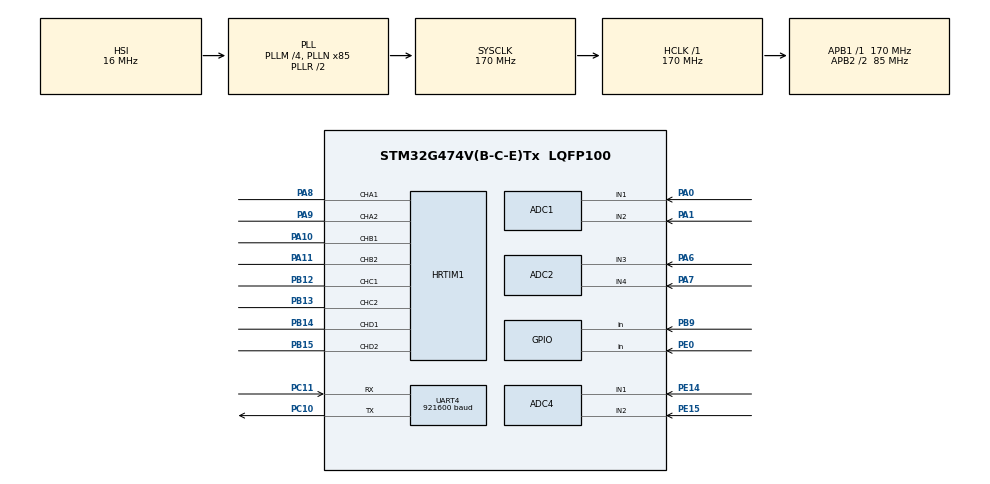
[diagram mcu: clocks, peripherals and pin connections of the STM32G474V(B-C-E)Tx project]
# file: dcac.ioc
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ADC1.Channel-0\#ChannelRegularConversion=ADC_CHANNEL_1
ADC1.DMAAccessModeView=ENABLE
ADC1.DMAContinuousRequests=ENABLE
ADC1.ExternalTrigConv=ADC_EXTERNALTRIG_HRTIM_TRG1
ADC1.ExternalTrigConvEdge=ADC_EXTERNALTRIGCONVEDGE_FALLING
ADC1.Mode=ADC_DUALMODE_REGSIMULT
ADC1.NbrOfConversion=1
ADC1.NbrOfConversionFlag=1
ADC1.OffsetNumber-0\#ChannelRegularConversion=ADC_OFFSET_NONE
ADC1.Overrun=ADC_OVR_DATA_OVERWRITTEN
ADC1.Rank-0\#ChannelRegularConversion=1
ADC1.SamplingTime-0\#ChannelRegularConversion=ADC_SAMPLETIME_2CYCLES_5
ADC1.SingleDiff-0\#ChannelRegularConversion=ADC_DIFFERENTIAL_ENDED
ADC1.master=1
ADC2.Channel-0\#ChannelRegularConversion=ADC_CHANNEL_3
ADC2.DMAAccessModeView=ENABLE
ADC2.Mode=ADC_DUALMODE_REGSIMULT
ADC2.NbrOfConversionFlag=1
ADC2.OffsetNumber-0\#ChannelRegularConversion=ADC_OFFSET_NONE
ADC2.Overrun=ADC_OVR_DATA_OVERWRITTEN
ADC2.Rank-0\#ChannelRegularConversion=1
ADC2.SamplingTime-0\#ChannelRegularConversion=ADC_SAMPLETIME_2CYCLES_5
ADC2.SingleDiff-0\#ChannelRegularConversion=ADC_DIFFERENTIAL_ENDED
ADC4.Channel-0\#ChannelRegularConversion=ADC_CHANNEL_1
ADC4.DMAContinuousRequests=ENABLE
ADC4.ExternalTrigConv=ADC_EXTERNALTRIG_HRTIM_TRG1
ADC4.ExternalTrigConvEdge=ADC_EXTERNALTRIGCONVEDGE_FALLING
ADC4.NbrOfConversionFlag=1
ADC4.Overrun=ADC_OVR_DATA_OVERWRITTEN
ADC4.OffsetNumber-0\#ChannelRegularConversion=ADC_OFFSET_NONE
ADC4.Rank-0\#ChannelRegularConversion=1
ADC4.SamplingTime-0\#ChannelRegularConversion=ADC_SAMPLETIME_2CYCLES_5
ADC4.SingleDiff-0\#ChannelRegularConversion=ADC_DIFFERENTIAL_ENDED
Dma.ADC1.0.Direction=DMA_PERIPH_TO_MEMORY
Dma.ADC1.0.EventEnable=DISABLE
Dma.ADC1.0.Instance=DMA1_Channel1
Dma.ADC1.0.MemDataAlignment=DMA_MDATAALIGN_WORD
Dma.ADC1.0.MemInc=DMA_MINC_ENABLE
Dma.ADC1.0.Mode=DMA_CIRCULAR
Dma.ADC1.0.PeriphDataAlignment=DMA_PDATAALIGN_WORD
Dma.ADC1.0.PeriphInc=DMA_PINC_DISABLE
Dma.ADC1.0.Polarity=HAL_DMAMUX_REQ_GEN_RISING
Dma.ADC1.0.Priority=DMA_PRIORITY_LOW
Dma.ADC1.0.RequestNumber=1
Dma.ADC1.0.SignalID=NONE
Dma.ADC1.0.SyncEnable=DISABLE
Dma.ADC1.0.SyncPolarity=HAL_DMAMUX_SYNC_NO_EVENT
Dma.ADC1.0.SyncRequestNumber=1
Dma.ADC1.0.SyncSignalID=NONE
Dma.ADC4.1.Direction=DMA_PERIPH_TO_MEMORY
Dma.ADC4.1.EventEnable=DISABLE
Dma.ADC4.1.Instance=DMA1_Channel2
Dma.ADC4.1.MemDataAlignment=DMA_MDATAALIGN_WORD
Dma.ADC4.1.MemInc=DMA_MINC_ENABLE
Dma.ADC4.1.Mode=DMA_CIRCULAR
Dma.ADC4.1.PeriphDataAlignment=DMA_PDATAALIGN_WORD
Dma.ADC4.1.PeriphInc=DMA_PINC_DISABLE
Dma.ADC4.1.Polarity=HAL_DMAMUX_REQ_GEN_RISING
Dma.ADC4.1.Priority=DMA_PRIORITY_LOW
Dma.ADC4.1.RequestNumber=1
Dma.ADC4.1.SignalID=NONE
Dma.ADC4.1.SyncEnable=DISABLE
Dma.ADC4.1.SyncPolarity=HAL_DMAMUX_SYNC_NO_EVENT
Dma.ADC4.1.SyncRequestNumber=1
Dma.ADC4.1.SyncSignalID=NONE
Dma.Request0=ADC1
Dma.Request1=ADC4
HRTIM1.ADCTrigger1_Source1=HRTIM_ADCTRIGGEREVENT13_MASTER_PERIOD
HRTIM1.ADCTrigger_Id1=HRTIM_ADCTRIGGER_1
HRTIM1.Adrom_TA=HRTIM_TIM_ADROM_VALLEY
HRTIM1.Adrom_TB=HRTIM_TIM_ADROM_VALLEY
HRTIM1.Adrom_TC=HRTIM_TIM_ADROM_VALLEY
HRTIM1.Adrom_TD=HRTIM_TIM_ADROM_VALLEY
HRTIM1.Bmrom_TA=HRTIM_TIM_BMROM_VALLEY
HRTIM1.Bmrom_TB=HRTIM_TIM_BMROM_VALLEY
HRTIM1.Bmrom_TC=HRTIM_TIM_BMROM_VALLEY
HRTIM1.Bmrom_TD=HRTIM_TIM_BMROM_VALLEY
HRTIM1.CompareUnit1-MasterTimer=__NULL
HRTIM1.CompareUnit1-Output_TA1TA2=HRTIM_COMPAREUNIT_1
HRTIM1.CompareUnit1-Output_TB1TB2=HRTIM_COMPAREUNIT_1
HRTIM1.CompareUnit1-Output_TC1TC2=HRTIM_COMPAREUNIT_1
HRTIM1.CompareUnit1-Output_TD1TD2=HRTIM_COMPAREUNIT_1
HRTIM1.CompareUnit2-Output_TA1TA2=__NULL
HRTIM1.CompareUnit2-Output_TB1TB2=__NULL
HRTIM1.CompareUnit2-Output_TC1TC2=__NULL
HRTIM1.CompareValue1-Output_TA1TA2=2125
HRTIM1.CompareValue1-Output_TB1TB2=2125
HRTIM1.CompareValue1-Output_TC1TC2=2125
HRTIM1.CompareValue1-Output_TD1TD2=2150
HRTIM1.DeadTimeInsertion-Output_TA1TA2=HRTIM_TIMDEADTIMEINSERTION_ENABLED
HRTIM1.DeadTimeInsertion-Output_TB1TB2=HRTIM_TIMDEADTIMEINSERTION_ENABLED
HRTIM1.DeadTimeInsertion-Output_TC1TC2=HRTIM_TIMDEADTIMEINSERTION_ENABLED
HRTIM1.DeadTimeInsertion-Output_TD1TD2=HRTIM_TIMDEADTIMEINSERTION_ENABLED
HRTIM1.FallingValue-Output_TA1TA2=25
HRTIM1.FallingValue-Output_TB1TB2=0
HRTIM1.FallingValue-Output_TC1TC2=0
HRTIM1.FallingValue-Output_TD1TD2=0
HRTIM1.Ferom_TA=HRTIM_TIM_FEROM_VALLEY
HRTIM1.Ferom_TB=HRTIM_TIM_FEROM_VALLEY
HRTIM1.Ferom_TC=HRTIM_TIM_FEROM_VALLEY
HRTIM1.Ferom_TD=HRTIM_TIM_FEROM_VALLEY
HRTIM1.GreaterCMP1_TA=HRTIM_TIMERGTCMP1_EQUAL
HRTIM1.GreaterCMP1_TB=HRTIM_TIMERGTCMP1_EQUAL
HRTIM1.NumberADCTriggerSource1=1
HRTIM1.NumberInterruptRequests-Output_TA1TA2=0
HRTIM1.NumberInterruptRequests_Master-MasterTimer=0
HRTIM1.NumberResetSource1-Output_TA1TA2=1
HRTIM1.NumberResetSource1-Output_TB1TB2=1
HRTIM1.NumberResetSource1-Output_TC1TC2=1
HRTIM1.NumberResetSource1-Output_TD1TD2=1
HRTIM1.NumberResetTrigger-Output_TA1TA2=0
HRTIM1.NumberResetTrigger-Output_TB1TB2=0
HRTIM1.NumberSetSource1-Output_TA1TA2=1
HRTIM1.NumberSetSource1-Output_TB1TB2=1
HRTIM1.NumberSetSource1-Output_TC1TC2=1
HRTIM1.NumberSetSource1-Output_TD1TD2=1
HRTIM1.NumberUpdateTrigger-Output_TA1TA2=0
HRTIM1.NumberUpdateTrigger-Output_TB1TB2=0
HRTIM1.Outrom_TA=HRTIM_TIM_OUTROM_VALLEY
HRTIM1.Outrom_TB=HRTIM_TIM_OUTROM_VALLEY
HRTIM1.Outrom_TC=HRTIM_TIM_OUTROM_VALLEY
HRTIM1.Outrom_TD=HRTIM_TIM_OUTROM_VALLEY
HRTIM1.Periode_MASTER=8500
HRTIM1.Periode_TA=4250
HRTIM1.Periode_TB=4250
HRTIM1.Periode_TC=4250
HRTIM1.Periode_TD=4250
HRTIM1.PreloadEnable-MasterTimer=HRTIM_PRELOAD_ENABLED
HRTIM1.PreloadEnable-Output_TA1TA2=HRTIM_PRELOAD_ENABLED
HRTIM1.PreloadEnable-Output_TB1TB2=HRTIM_PRELOAD_ENABLED
HRTIM1.PreloadEnable-Output_TC1TC2=HRTIM_PRELOAD_ENABLED
HRTIM1.PreloadEnable-Output_TD1TD2=HRTIM_PRELOAD_ENABLED
HRTIM1.PrescalerDead-Output_TA1TA2=HRTIM_TIMDEADTIME_PRESCALERRATIO_DIV1
HRTIM1.PrescalerDead-Output_TB1TB2=HRTIM_TIMDEADTIME_PRESCALERRATIO_DIV1
HRTIM1.PrescalerRatio_MASTER=HRTIM_PRESCALERRATIO_DIV1
HRTIM1.PrescalerRatio_TA=HRTIM_PRESCALERRATIO_DIV1
HRTIM1.PrescalerRatio_TB=HRTIM_PRESCALERRATIO_DIV1
HRTIM1.PrescalerRatio_TC=HRTIM_PRESCALERRATIO_DIV1
HRTIM1.PrescalerRatio_TD=HRTIM_PRESCALERRATIO_DIV1
HRTIM1.RepetitionCounter-MasterTimer=0
HRTIM1.RepetitionUpdate-MasterTimer=HRTIM_UPDATEONREPETITION_ENABLED
HRTIM1.RepetitionUpdate-Output_TA1TA2=HRTIM_UPDATEONREPETITION_ENABLED
HRTIM1.RepetitionUpdate-Output_TB1TB2=HRTIM_UPDATEONREPETITION_ENABLED
HRTIM1.RepetitionUpdate-Output_TC1TC2=HRTIM_UPDATEONREPETITION_ENABLED
HRTIM1.RepetitionUpdate-Output_TD1TD2=HRTIM_UPDATEONREPETITION_ENABLED
HRTIM1.ResetOutput1_Source1-Output_TA1TA2=HRTIM_OUTPUTRESET_TIMCMP1
HRTIM1.ResetOutput1_Source1-Output_TB1TB2=HRTIM_OUTPUTRESET_TIMCMP1
HRTIM1.ResetOutput1_Source1-Output_TC1TC2=HRTIM_OUTPUTRESET_TIMCMP1
HRTIM1.ResetOutput1_Source1-Output_TD1TD2=HRTIM_OUTPUTRESET_TIMCMP1
HRTIM1.ResetUpdate-Output_TA1TA2=HRTIM_TIMUPDATEONRESET_DISABLED
HRTIM1.ResetUpdate-Output_TB1TB2=HRTIM_TIMUPDATEONRESET_DISABLED
HRTIM1.RisingValue-Output_TA1TA2=0
HRTIM1.RisingValue-Output_TB1TB2=0
HRTIM1.RisingValue-Output_TC1TC2=0
HRTIM1.RisingValue-Output_TD1TD2=0
HRTIM1.SetOutput1_Source1-Output_TA1TA2=HRTIM_OUTPUTSET_NONE
HRTIM1.SetOutput1_Source1-Output_TB1TB2=HRTIM_OUTPUTSET_NONE
HRTIM1.UpDownMode-Output_TA1TA2=HRTIM_TIMERUPDOWNMODE_UPDOWN
HRTIM1.UpDownMode-Output_TB1TB2=HRTIM_TIMERUPDOWNMODE_UPDOWN
HRTIM1.UpDownMode-Output_TC1TC2=HRTIM_TIMERUPDOWNMODE_UPDOWN
HRTIM1.UpDownMode-Output_TD1TD2=HRTIM_TIMERUPDOWNMODE_UPDOWN
HRTIM1.rom_TA=HRTIM_TIM_ROM_VALLEY
HRTIM1.rom_TB=HRTIM_TIM_ROM_VALLEY
HRTIM1.rom_TC=HRTIM_TIM_ROM_VALLEY
HRTIM1.rom_TD=HRTIM_TIM_ROM_VALLEY
Mcu.Family=STM32G4
Mcu.Name=STM32G474V(B-C-E)Tx
Mcu.Package=LQFP100
NVIC.DMA1_Channel1_IRQn=true\:0\:0\:false\:false\:true\:false\:true\:true
NVIC.DMA1_Channel2_IRQn=true\:1\:0\:false\:false\:true\:false\:true\:true
NVIC.PriorityGroup=NVIC_PRIORITYGROUP_4
PA0.Mode=IN1-Differential
PA0.Signal=ADC1_IN1
PA1.Mode=IN1-Differential
PA1.Signal=ADC1_IN2
PA10.Mode=Output_TB1TB2
PA10.Signal=HRTIM1_CHB1
PA11.Mode=Output_TB1TB2
PA11.Signal=HRTIM1_CHB2
PA13.Mode=Serial_Wire
PA13.Signal=SYS_JTMS-SWDIO
PA14.Mode=Serial_Wire
PA14.Signal=SYS_JTCK-SWCLK
PA6.Mode=IN3-Differential
PA6.Signal=ADC2_IN3
PA7.Mode=IN3-Differential
PA7.Signal=ADC2_IN4
PA8.Mode=Output_TA1TA2
PA8.Signal=HRTIM1_CHA1
PA9.Mode=Output_TA1TA2
PA9.Signal=HRTIM1_CHA2
PB12.Mode=Output_TC1TC2
PB12.Signal=HRTIM1_CHC1
PB13.Mode=Output_TC1TC2
PB13.Signal=HRTIM1_CHC2
PB14.Mode=Output_TD1TD2
PB14.Signal=HRTIM1_CHD1
PB15.Mode=Output_TD1TD2
PB15.Signal=HRTIM1_CHD2
PB9.GPIO_PuPd=GPIO_PULLUP
PB9.Signal=GPIO_Input
PC10.Mode=Asynchronous
PC10.Signal=UART4_TX
PC11.Mode=Asynchronous
PC11.Signal=UART4_RX
PE0.GPIO_PuPd=GPIO_PULLUP
PE0.Signal=GPIO_Input
PE14.Mode=IN1-Differential
PE14.Signal=ADC4_IN1
PE15.Mode=IN1-Differential
PE15.Signal=ADC4_IN2
ProjectManager.HeapSize=0x200
ProjectManager.StackSize=0x400
ProjectManager.TargetToolchain=MDK-ARM V5.32
RCC.ADC12Freq_Value=170000000
RCC.ADC345Freq_Value=170000000
RCC.AHBFreq_Value=170000000
RCC.APB1Freq_Value=170000000
RCC.APB1TimFreq_Value=170000000
RCC.APB2CLKDivider=RCC_HCLK_DIV2
RCC.APB2Freq_Value=85000000
RCC.APB2TimFreq_Value=170000000
RCC.CortexFreq_Value=170000000
RCC.EXTERNAL_CLOCK_VALUE=12288000
RCC.HCLKFreq_Value=170000000
RCC.HSE_VALUE=25000000
RCC.HSI48_VALUE=48000000
RCC.HSI_VALUE=16000000
RCC.LSE_VALUE=32768
RCC.PLLM=RCC_PLLM_DIV4
RCC.PLLN=85
RCC.PWR_Regulator_Voltage_Scale=PWR_REGULATOR_VOLTAGE_SCALE1_BOOST
RCC.SYSCLKFreq_VALUE=170000000
RCC.SYSCLKSource=RCC_SYSCLKSOURCE_PLLCLK
RCC.USBFreq_Value=170000000
RCC.VCOOutputFreq_Value=340000000
STMicroelectronics.X-CUBE-ALGOBUILD.1.5.0.LibraryCcDSPOoLibraryJjDSPOoLibrary=true
UART4.BaudRate=921600
VP_HRTIM1_VS_hrtimMasterTimerNoOutput.Mode=MasterTimer
VP_STMicroelectronics.X-CUBE-ALGOBUILD_VS_DSPOoLibraryJjLibrary_1.5.0_1.5.0.Mode=DSPOoLibraryJjLibrary
VP_SYS_VS_DBSignals.Mode=DisableDeadBatterySignals
VP_SYS_V_VREFBUF.Mode=ExternalMode
board=custom

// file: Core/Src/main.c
/* USER CODE BEGIN Header */
/**
  ******************************************************************************
  * @file           : main.c
  * @brief          : Main program body
  ******************************************************************************
  * @attention
  *
  * Copyright (c) 2026 STMicroelectronics.
  * All rights reserved.
  *
  * This software is licensed under terms that can be found in the LICENSE file
  * in the root directory of this software component.
  * If no LICENSE file comes with this software, it is provided AS-IS.
  *
  ******************************************************************************
  */
/* USER CODE END Header */
#include "main.h"
#include "adc.h"
#include "dma.h"
#include "hrtim.h"
#include "usart.h"
#include "gpio.h"

/* USER CODE BEGIN Includes */
#include "key.h"
#include "arm_math.h"
#include "qpr_control.h"
#include <string.h>
/* USER CODE END Includes */

/* USER CODE BEGIN PD */
/* DIV1 下，比较值避开计数端点；6 tick 是按 RM0440 p918 例值取的保守余量。 */
#define HRTIM_COMPARE_MARGIN_TICKS  6U
#define SPWM_MODULATION_LIMIT      QPR_MODULATION_LIMIT
#define SPWM_OUTPUT_FREQUENCY_HZ    QPR_FREQUENCY_HZ
/* dcac 的差分 ADC、HRTIM 触发与 UART4 配置。 */
#define ADC_DIFF_ZERO_CODE         2048
#define VOFA_OUTPUT_ENABLE         1U
/* 七通道：20 kHz / 10 = 2000 帧/s，50 Hz 正弦每周期 40 点。
 * 32 字节、8N1 占用 640000 bit/s；UART4 和 VOFA 均设置为 921600 baud。
 */
#define VOFA_SAMPLE_DIV            10U
/* 1: 400 个全速控制样本的有符号均值；0: 原六通道瞬时波形。 */
#define VOFA_MEAN_OUTPUT_ENABLE    0U
#define VOFA_MEAN_SAMPLE_COUNT     400U
#define VOFA_UART_TIMEOUT_MS       5U

#define VOLTAGE_ZERO_V (1.420631941e-01f)
#define CURRENT_ZERO_V (-1.768831080e-03f)
/* 辅助电流零偏必须单独实测，不能沿用主机通道的标定结果。 */
#define AUX_CURRENT_ZERO_V (0.0f)

#if VOFA_SAMPLE_DIV < 1U
#error "VOFA_SAMPLE_DIV must be at least 1"
#endif
/* USER CODE END PD */

/* USER CODE BEGIN PV */
uint16_t Period;
/* Keil Watch：目标峰值约 45.2548 V，对应 32 Vrms；本板暂未配置母线 ADC。 */
/* 已确认 25 ohm 带载工况；默认启动闭环，参考峰值约用 0.754 s 升到 45.2548 V。 */
/* 1：QPR 闭环；0：正弦开环输出，不是停机/关断栅极。 */
volatile uint8_t voltage_closed_loop_enable = 0U;
volatile float voltage_reference_peak_v = QPR_DEFAULT_REFERENCE_PEAK_V;
volatile float dc_bus_voltage_v = QPR_DEFAULT_DC_BUS_V;
volatile float voltage_reference_v;
/* 展开 qpr_control 可查看两环误差、校正电压、限幅次数和故障位。 */
QPR_Control qpr_control;
/* 系数在主循环准备，ADC 控制拍边界接管，避免并发改写和 ISR 内 double 计算。 */
static QPR_Control qpr_reinit_prepared;
static volatile uint8_t qpr_reinit_pending;
volatile uint32_t qpr_reinit_count;
volatile float modulation_command;
volatile uint32_t spwm_update_count;
float spwm_update_hz;
static float spwm_phase_rad;
static float phase_step_rad;
/* DMA 每次把 ADC1/ADC2 的 CDR 写入同一个 32 位字；仅在回调开头读一次。 */
volatile float vref_voltage = 3.0f;      /* 外部 VREF+，单位 V */
volatile uint32_t adc12_word;
volatile uint16_t adc_voltage_raw;
volatile uint16_t adc_current_raw;
volatile int16_t adc_voltage_code;
volatile int16_t adc_current_code;
volatile float adc_sample_voltage;       /* 电压采样通道的 ADC 差分电压，V */
volatile float adc_sample_current;       /* 电流采样通道的 ADC 差分电压，V，尚未换算为 A */
volatile float true_voltage;             /* 瞬时电压，V */
volatile float true_current;             /* 滤波电感瞬时电流，A（电容分流之前） */
volatile float voltage_gain = 17.7f;       /* 电压采样通道的增益，V/V */
volatile float cksr6_current_gain = 2.400384f;   /* 电流采样通道的增益，A/V */
volatile uint32_t adc_sample_count;      /* ADC1 DMA 完成回调次数 */
/* ADC4：PE14(INP)-PE15(INN)，独立的32位单字循环DMA缓冲。 */
volatile uint32_t adc4_word;
volatile uint16_t adc_aux_current_raw;
volatile int16_t adc_aux_current_code;
volatile float adc_sample_aux_current;   /* 去中点、减零偏后的ADC差分电压，V */
volatile float true_aux_current;         /* 辅助逆变器电感瞬时电流，A */
/* 暂按与主机相同的CKSR6链路换算，实际比例/极性需独立标定。 */
volatile float aux_current_gain = 2.400384f;
volatile float aux_current_zero_v = AUX_CURRENT_ZERO_V;
volatile uint32_t adc4_sample_count;
volatile uint32_t adc4_error_count;

#if VOFA_OUTPUT_ENABLE
/* 单槽邮箱：保留同一窗口均值或同一控制拍的六个量；主循环发送。 */
volatile float vofa_ch1;
volatile float vofa_ch2;
volatile float vofa_ch3;
volatile float vofa_ch4;
volatile float vofa_ch5;
volatile float vofa_ch6;
volatile float vofa_ch7;
/* 均值窗口只由 ADC ISR 访问，单精度累加使用 M4F 硬件浮点。 */
static float vofa_mean_sum[5];
static uint32_t vofa_mean_count;
static uint8_t vofa_mean_mode;
volatile uint32_t vofa_mean_window_count;
volatile uint8_t vofa_frame_ready;
volatile uint32_t adc_sample_div_count;
volatile uint32_t vofa_sent_count;        /* HAL 返回成功的完整帧数 */
volatile uint32_t vofa_tx_error_count;    /* HAL 超时、忙或错误的累计次数 */
volatile uint32_t vofa_overwrite_count;   /* 主循环未取走就被新采样覆盖的帧数 */
static uint8_t vofa_frame[32];  /* 七个 float（28 字节）+ JustFloat 帧尾（4 字节）。 */
typedef char VofaRequires32BitFloat[(sizeof(float) == 4U) ? 1 : -1];
#endif
/* USER CODE END PV */

void SystemClock_Config(void);

/* USER CODE BEGIN 0 */
/*
 * 对应 singlephase/单极倍频调制：
 * dA=(1+m)/2，dB=(1-m)/2。
 * HRTIM 使用 EQUAL + Reset CMP1：上数清零、下数置位，与 TIM1 PWM1 一致。
 * A/B 的 ROM_VALLEY + REP=0 使两路预装载值在每个谷底一起生效。
 */
static void HRTIM_SetModulation(float modulation)
{
    uint32_t compare_a;
    uint32_t compare_b;
    uint32_t maximum = (uint32_t)Period - HRTIM_COMPARE_MARGIN_TICKS;

    if (modulation > SPWM_MODULATION_LIMIT) modulation = SPWM_MODULATION_LIMIT;
    if (modulation < -SPWM_MODULATION_LIMIT) modulation = -SPWM_MODULATION_LIMIT;

    compare_a = (uint32_t)(0.5f * (1.0f + modulation) * (float)Period + 0.5f);
    compare_b = (uint32_t)(0.5f * (1.0f - modulation) * (float)Period + 0.5f);
    if (compare_a < HRTIM_COMPARE_MARGIN_TICKS) compare_a = HRTIM_COMPARE_MARGIN_TICKS;
    if (compare_b < HRTIM_COMPARE_MARGIN_TICKS) compare_b = HRTIM_COMPARE_MARGIN_TICKS;
    if (compare_a > maximum) compare_a = maximum;
    if (compare_b > maximum) compare_b = maximum;

    __HAL_HRTIM_SETCOMPARE(&hhrtim1, HRTIM_TIMERINDEX_TIMER_A, HRTIM_COMPAREUNIT_1, compare_a);
    __HAL_HRTIM_SETCOMPARE(&hhrtim1, HRTIM_TIMERINDEX_TIMER_B, HRTIM_COMPAREUNIT_1, compare_b);
    modulation_command = modulation;
}

static void HRTIM_SPWM_Init(void)
{
    uint32_t master_period;
    uint32_t hrtim_clock_hz;

    Period = (uint16_t)__HAL_HRTIM_GETPERIOD(&hhrtim1, HRTIM_TIMERINDEX_TIMER_A);
    master_period = __HAL_HRTIM_GETPERIOD(&hhrtim1, HRTIM_TIMERINDEX_MASTER);
    /* 单更新：M/A/B 同为 DIV1、REP=0；Master 向上计数，PER 必须是 A/B 的两倍。 */
    if ((Period <= 2U * HRTIM_COMPARE_MARGIN_TICKS) ||
        (master_period != 2U * (uint32_t)Period) ||
        (__HAL_HRTIM_GETPERIOD(&hhrtim1, HRTIM_TIMERINDEX_TIMER_B) != Period) ||
        ((HRTIM1->sMasterRegs.MCR & HRTIM_MCR_CK_PSC) != HRTIM_PRESCALERRATIO_DIV1) ||
        ((HRTIM1->sTimerxRegs[HRTIM_TIMERINDEX_TIMER_A].TIMxCR & HRTIM_TIMCR_CK_PSC) != HRTIM_PRESCALERRATIO_DIV1) ||
        ((HRTIM1->sTimerxRegs[HRTIM_TIMERINDEX_TIMER_B].TIMxCR & HRTIM_TIMCR_CK_PSC) != HRTIM_PRESCALERRATIO_DIV1) ||
        (HRTIM1->sMasterRegs.MREP != 0U))
    {
        Error_Handler();
    }

    /* HRTIM 内核时钟来源见 RM0440 Figure 17；当前为 170 MHz。 */
    hrtim_clock_hz = HAL_RCC_GetPCLK2Freq();
    if ((RCC->CFGR & RCC_CFGR_PPRE2) != 0U) hrtim_clock_hz *= 2U;
    spwm_update_hz = (float)hrtim_clock_hz / (float)master_period;
    phase_step_rad = 2.0f * PI * SPWM_OUTPUT_FREQUENCY_HZ / spwm_update_hz;
    spwm_phase_rad = 0.0f;
    spwm_update_count = 0U;
    if (QPR_ControlInit(&qpr_control, spwm_update_hz) == 0U)
    {
        Error_Handler();
    }

    /* 两桥臂先装载相同的 50% */
    HRTIM_SetModulation(0.0f);
    if (HAL_HRTIM_SoftwareUpdate(&hhrtim1, HRTIM_TIMERUPDATE_MASTER |
                                HRTIM_TIMERUPDATE_A | HRTIM_TIMERUPDATE_B) != HAL_OK)
    {
        Error_Handler();
    }

    /* RM0440 p954：进入 RUN 前预置谷部高电平；x2 由死区单元生成互补。 */
    if (HAL_HRTIM_WaveformSetOutputLevel(&hhrtim1, HRTIM_TIMERINDEX_TIMER_A,
                                       HRTIM_OUTPUT_TA1, HRTIM_OUTPUTLEVEL_ACTIVE) != HAL_OK)
    {
        Error_Handler();
    }
    if (HAL_HRTIM_WaveformSetOutputLevel(&hhrtim1, HRTIM_TIMERINDEX_TIMER_B,
                                       HRTIM_OUTPUT_TB1, HRTIM_OUTPUTLEVEL_ACTIVE) != HAL_OK)
    {
        Error_Handler();
    }

    __HAL_HRTIM_MASTER_CLEAR_FLAG(&hhrtim1, HRTIM_MASTER_FLAG_MREP);
    if (HAL_HRTIM_WaveformOutputStart(&hhrtim1, HRTIM_OUTPUT_TA1 | HRTIM_OUTPUT_TA2 |
                                    HRTIM_OUTPUT_TB1 | HRTIM_OUTPUT_TB2) != HAL_OK)
    {
        Error_Handler();
    }
    /* 刚初始化的 M/A/B 计数器均为 0；HAL 用一次 MCR 写入同时启动三者。
     * 不使用“未开计数器时的软件复位”：RM0440 p895 说明此时复位请求无效。
     */
    if (HAL_HRTIM_WaveformCountStart_IT(&hhrtim1, HRTIM_TIMERID_MASTER |
                                      HRTIM_TIMERID_TIMER_A | HRTIM_TIMERID_TIMER_B) != HAL_OK)
    {
        Error_Handler();
    }
}
/* 差分原始码以 2048 为零点；先去中点，再减零偏，最后换算物理量。 */
static int16_t ADC_DiffRawToSigned(uint16_t raw)
{
    return (int16_t)((int32_t)(raw & 0x0FFFU) - ADC_DIFF_ZERO_CODE);
}

static void ADC_Sampling_Init(void)
{
    /* 必须在 HRTIM 启动周期触发之前校准并挂好 DMA。 */
    if (HAL_ADCEx_Calibration_Start(&hadc1, ADC_DIFFERENTIAL_ENDED) != HAL_OK)
    {
        Error_Handler();
    }
    if (HAL_ADCEx_Calibration_Start(&hadc2, ADC_DIFFERENTIAL_ENDED) != HAL_OK)
    {
        Error_Handler();
    }
    if (HAL_ADCEx_Calibration_Start(&hadc4, ADC_DIFFERENTIAL_ENDED) != HAL_OK)
    {
        Error_Handler();
    }

    /* 当前 HAL 的此 API 会同时使能主、从 ADC；不单独启动 ADC2 的 DMA。 */
    if (HAL_ADCEx_MultiModeStart_DMA(&hadc1, (uint32_t *)&adc12_word, 1U) != HAL_OK)
    {
        Error_Handler();
    }
    /* 一个 32 位字没有需要处理的半缓冲，保留 TC/TE，关闭无用的 HT 中断。 */
    __HAL_DMA_DISABLE_IT(hadc1.DMA_Handle, DMA_IT_HT);
    /* ADC4独立启动后等待同一个HRTIM_TRG1下降沿，不软件顺序触发。
     * 主机DMA和控制回调保持原路径，不等待ADC4完成。
     */
    if (HAL_ADC_Start_DMA(&hadc4, (uint32_t *)&adc4_word, 1U) != HAL_OK)
    {
        Error_Handler();
    }
    __HAL_DMA_DISABLE_IT(hadc4.DMA_Handle, DMA_IT_HT);
}

#if VOFA_OUTPUT_ENABLE
/* 每拍调用；完成窗口时一次发布六个结果。不是 RMS，也不是抽点平均。
 * 固定 400 点在当前 20 kHz/50 Hz 配置下对应一个基波周期。
 */
static void VOFA_AccumulateMean(uint8_t closed_loop)
{
    uint32_t i;
    const float scale = 1.0f / (float)VOFA_MEAN_SAMPLE_COUNT;

    if (closed_loop != vofa_mean_mode)
    {
        for (i = 0U; i < 5U; ++i) vofa_mean_sum[i] = 0.0f;
        vofa_mean_count = 0U;
        vofa_mean_mode = closed_loop;
        vofa_frame_ready = 0U; /* 丢弃尚未取走的旧模式结果。 */
    }
    /* 开环时 control.voltage_error_v 被清零，因此用同拍参考重新求误差。 */
    vofa_mean_sum[0] += qpr_control.reference_v - true_voltage;
    vofa_mean_sum[1] += qpr_control.current_reference_a;
    vofa_mean_sum[2] += true_current;
    vofa_mean_sum[3] += qpr_control.resonant_r;
    vofa_mean_sum[4] += qpr_control.qpr_unlimited_v;
    vofa_mean_count++;
    if (vofa_mean_count < VOFA_MEAN_SAMPLE_COUNT) return;

    if (vofa_frame_ready != 0U) vofa_overwrite_count++;
    vofa_ch1 = vofa_mean_sum[0] * scale; /* 平均电压误差，V */
    vofa_ch2 = vofa_mean_sum[1] * scale; /* 平均电流参考，A */
    vofa_ch3 = vofa_mean_sum[2] * scale; /* 平均实测电流，A */
    vofa_ch4 = vofa_mean_sum[3] * scale; /* 平均谐振项，V */
    vofa_ch5 = vofa_mean_sum[4] * scale; /* 平均未限幅 QPR 输出，V */
    vofa_ch6 = vofa_ch1 - QPR_VIRTUAL_R_OHM * vofa_ch2;
    /* CH7始终为最近一次完成的辅助电流样本，不随CH1~6切换为均值。 */
    vofa_ch7 = true_aux_current;
    /* CH6 为虚拟阻抗稳态残差(V)，动态过程可非零；开环不适用此关系。 */
    for (i = 0U; i < 5U; ++i) vofa_mean_sum[i] = 0.0f;
    vofa_mean_count = 0U;
    vofa_mean_window_count++;
    vofa_frame_ready = 1U;
}

static void VOFA_SendJustFloat(float ch1, float ch2, float ch3, float ch4, float ch5, float ch6, float ch7)
{
    HAL_StatusTypeDef status;

    memcpy(&vofa_frame[0], &ch1, sizeof(ch1));
    memcpy(&vofa_frame[4], &ch2, sizeof(ch2));
    memcpy(&vofa_frame[8], &ch3, sizeof(ch3));
    memcpy(&vofa_frame[12], &ch4, sizeof(ch4));
    memcpy(&vofa_frame[16], &ch5, sizeof(ch5));
    memcpy(&vofa_frame[20], &ch6, sizeof(ch6));
    memcpy(&vofa_frame[24], &ch7, sizeof(ch7));
    vofa_frame[28] = 0x00U;
    vofa_frame[29] = 0x00U;
    vofa_frame[30] = 0x80U;
    vofa_frame[31] = 0x7FU;

    /* 主循环轮询发送，等待期间允许 HRTIM/ADC 中断继续运行。
     * 921600 下 32 字节在线时间约 0.347 ms，小于 0.5 ms 采样间隔。
     * 中断抢占会延长实际发送时间；仍保留 5 ms 超时及丢帧计数用于诊断。
     */
    status = HAL_UART_Transmit(&huart4, vofa_frame,
                               (uint16_t)sizeof(vofa_frame), VOFA_UART_TIMEOUT_MS);
    if (status == HAL_OK)
    {
        vofa_sent_count++;
    }
    else
    {
        /* 丢弃失败帧，不阻塞重试；下一帧继续发送最新数据。 */
        vofa_tx_error_count++;
    }
}

static void VOFA_Process(void)
{
    uint32_t primask;
    float ch1;
    float ch2;
    float ch3;
    float ch4;
    float ch5;
    float ch6;
    float ch7;

    if (vofa_frame_ready == 0U)
    {
        return;
    }

    /* 一次取走完整七通道快照；保留调用前的中断屏蔽状态。 */
    primask = __get_PRIMASK();
    __disable_irq();
    ch1 = vofa_ch1;
    ch2 = vofa_ch2;
    ch3 = vofa_ch3;
    ch4 = vofa_ch4;
    ch5 = vofa_ch5;
    ch6 = vofa_ch6;
    ch7 = vofa_ch7;

    vofa_frame_ready = 0U;
    __set_PRIMASK(primask);

    VOFA_SendJustFloat(ch1, ch2, ch3, ch4, ch5, ch6, ch7);
}
#endif
/* USER CODE END 0 */

int main(void)
{

  /* USER CODE BEGIN 1 */
  uint8_t key_number;

  /* USER CODE END 1 */

  /* MCU Configuration--------------------------------------------------------*/

  /* Reset of all peripherals, Initializes the Flash interface and the Systick. */
  HAL_Init();

  /* Configure the system clock */
  SystemClock_Config();

  /* Initialize all configured peripherals */
  MX_GPIO_Init();
  MX_DMA_Init();
  MX_HRTIM1_Init();
  MX_ADC1_Init();
  MX_ADC2_Init();
  MX_UART4_Init();
  MX_ADC4_Init();
  /* USER CODE BEGIN 2 */
  Key_Init();
  ADC_Sampling_Init();
  HRTIM_SPWM_Init();
  /* USER CODE END 2 */

  /* Infinite loop */
  while (1)
  {

    /* USER CODE BEGIN 3 */
    key_number = Key();
    if (key_number == 1U)
    {
        /* 每次有效松手切换一次；ADC 回调在下一控制拍应用新模式。 */
        voltage_closed_loop_enable = (voltage_closed_loop_enable == 0U) ? 1U : 0U;
    }
    else if ((key_number == 2U) && (qpr_reinit_pending == 0U))
    {
        /* PB9 松手事件：准备完整初始化，下一控制拍开始重新软启动。 */
        if (QPR_ControlInit(&qpr_reinit_prepared, spwm_update_hz) == 0U)
        {
            Error_Handler();
        }
        __DMB();
        qpr_reinit_pending = 1U;
    }
#if VOFA_OUTPUT_ENABLE
    VOFA_Process();
#endif
  }
  /* USER CODE END 3 */
}

void SystemClock_Config(void)
{
  RCC_OscInitTypeDef RCC_OscInitStruct = {0};
  RCC_ClkInitTypeDef RCC_ClkInitStruct = {0};

  /** Configure the main internal regulator output voltage
  */
  HAL_PWREx_ControlVoltageScaling(PWR_REGULATOR_VOLTAGE_SCALE1_BOOST);

  /** Initializes the RCC Oscillators according to the specified parameters
  * in the RCC_OscInitTypeDef structure.
  */
  RCC_OscInitStruct.OscillatorType = RCC_OSCILLATORTYPE_HSI;
  RCC_OscInitStruct.HSIState = RCC_HSI_ON;
  RCC_OscInitStruct.HSICalibrationValue = RCC_HSICALIBRATION_DEFAULT;
  RCC_OscInitStruct.PLL.PLLState = RCC_PLL_ON;
  RCC_OscInitStruct.PLL.PLLSource = RCC_PLLSOURCE_HSI;
  RCC_OscInitStruct.PLL.PLLM = RCC_PLLM_DIV4;
  RCC_OscInitStruct.PLL.PLLN = 85;
  RCC_OscInitStruct.PLL.PLLP = RCC_PLLP_DIV2;
  RCC_OscInitStruct.PLL.PLLQ = RCC_PLLQ_DIV2;
  RCC_OscInitStruct.PLL.PLLR = RCC_PLLR_DIV2;
  if (HAL_RCC_OscConfig(&RCC_OscInitStruct) != HAL_OK)
  {
    Error_Handler();
  }

  /** Initializes the CPU, AHB and APB buses clocks
  */
  RCC_ClkInitStruct.ClockType = RCC_CLOCKTYPE_HCLK|RCC_CLOCKTYPE_SYSCLK
                              |RCC_CLOCKTYPE_PCLK1|RCC_CLOCKTYPE_PCLK2;
  RCC_ClkInitStruct.SYSCLKSource = RCC_SYSCLKSOURCE_PLLCLK;
  RCC_ClkInitStruct.AHBCLKDivider = RCC_SYSCLK_DIV1;
  RCC_ClkInitStruct.APB1CLKDivider = RCC_HCLK_DIV1;
  RCC_ClkInitStruct.APB2CLKDivider = RCC_HCLK_DIV2;

  if (HAL_RCC_ClockConfig(&RCC_ClkInitStruct, FLASH_LATENCY_4) != HAL_OK)
  {
    Error_Handler();
  }
}

/* USER CODE BEGIN 4 */
void HAL_ADC_ConvCpltCallback(ADC_HandleTypeDef *hadc)
{
    uint32_t sample;
    float modulation;
    uint8_t closed_loop;

    if (hadc->Instance == ADC4)
    {
        /* 独立低优先级回调只做采样换算，不调用主机闭环、不推进相位。
         * CH7使用最近完成值；不能把回调先后当成采样孔径先后。
         */
        sample = adc4_word;
        adc_aux_current_raw = (uint16_t)(sample & 0x0FFFU);
        adc_aux_current_code = ADC_DiffRawToSigned(adc_aux_current_raw);
        adc_sample_aux_current = ((adc_aux_current_code / 2048.0f) * vref_voltage)
                                 - aux_current_zero_v;
        true_aux_current = adc_sample_aux_current * aux_current_gain;
        adc4_sample_count++;
        return;
    }

    if (hadc->Instance != ADC1)
    {
        return;
    }

    /* 一次读取 CDR 快照，避免拆分两通道时跨到下一次 DMA 写入。 */
    sample = adc12_word;
    adc_voltage_raw = (uint16_t)(sample & 0x0FFFU);
    adc_current_raw = (uint16_t)((sample >> 16) & 0x0FFFU);
    adc_voltage_code = ADC_DiffRawToSigned(adc_voltage_raw);
    adc_current_code = ADC_DiffRawToSigned(adc_current_raw);
    adc_sample_voltage = -((adc_voltage_code/2048.0f)* vref_voltage)- VOLTAGE_ZERO_V;
    adc_sample_current = ((adc_current_code/2048.0f)* vref_voltage)- CURRENT_ZERO_V;
    true_voltage =(adc_sample_voltage ) * voltage_gain;
    true_current =(adc_sample_current ) * cksr6_current_gain;
    adc_sample_count++;

    /* Master 向上计数：170 MHz/8500=20 kHz；A/B完整三角波=20 kHz。
     * ISR 写下一拍的预装载值，下一谷底装载；每个50 Hz周期约400次更新。
     */
    if (qpr_reinit_pending != 0U)
    {
        /* 相位及开闭环模式保持，参考幅值和控制状态从零重新开始。 */
        qpr_control = qpr_reinit_prepared;
#if VOFA_OUTPUT_ENABLE
        memset(vofa_mean_sum, 0, sizeof(vofa_mean_sum));
        vofa_mean_count = 0U;
        adc_sample_div_count = 0U;
        vofa_frame_ready = 0U;
#endif
        qpr_reinit_count++;
        __DMB();
        qpr_reinit_pending = 0U;
    }
    closed_loop = (voltage_closed_loop_enable != 0U) ? 1U : 0U;
    if (closed_loop != 0U)
    {
        /* 反馈必须用标定后的物理 V/A，不能用 ADC 端的差分电压。 */
        modulation = QPR_ControlStep(&qpr_control, arm_sin_f32(spwm_phase_rad),
                                     voltage_reference_peak_v, true_voltage,
                                     true_current, dc_bus_voltage_v);
    }
    else
    {
        /* 开环：参考正弦直接换算调制度，不用电压/电流反馈修正。 */
        modulation = QPR_ControlOpenLoopStep(&qpr_control, arm_sin_f32(spwm_phase_rad),
                                             voltage_reference_peak_v, dc_bus_voltage_v);
    }
    if (qpr_control.fault_flags != QPR_FAULT_NONE)
    {
        Error_Handler();
    }
    HRTIM_SetModulation(modulation);
    /* 两种模式均连续推进相位；幅值斜坡由控制函数共用。 */
    spwm_phase_rad += phase_step_rad;
    if (spwm_phase_rad >= 2.0f * PI) spwm_phase_rad -= 2.0f * PI;
    voltage_reference_v = qpr_control.reference_v;
    spwm_update_count++;

    /* ADC ISR 只计算控制和准备遥测；阻塞式串口发送仍在主循环。 */
#if VOFA_OUTPUT_ENABLE
    if (VOFA_MEAN_OUTPUT_ENABLE != 0U)
    {
        VOFA_AccumulateMean(closed_loop);
    }
    else
    {
        adc_sample_div_count++;
        if (adc_sample_div_count >= VOFA_SAMPLE_DIV)
        {
            adc_sample_div_count = 0U;
            if (vofa_frame_ready != 0U)
            {
                vofa_overwrite_count++;
            }
            vofa_ch1 = voltage_reference_v;  /* CH1：参考电压，V */
            vofa_ch2 = true_voltage;         /* CH2：输出电压，V */
            vofa_ch3 =  qpr_control.current_reference_a;  /* CH3：电流参考，A */
            vofa_ch4 =   true_current;         /* CH4：滤波电感电流，A */
            vofa_ch5 = qpr_control.qpr_unlimited_v;  /* CH5：未限幅的 QPR 校正电压，V */
            vofa_ch6 = qpr_control.qpr_correction_v;  /* CH6：限幅后的 QPR 校正电压，V */
            /* 主机不等待ADC4：此值可能比CH1~6早一个采样周期。 */
            vofa_ch7 = true_aux_current;             /* CH7：辅助电感电流，A */
            vofa_frame_ready = 1U;
        }
    }
#endif
}

void HAL_ADC_ErrorCallback(ADC_HandleTypeDef *hadc)
{
    if (hadc->Instance == ADC4)
    {
        /* 当前辅助采样仅作遥测：记录故障，不改变原主机控制行为。
         * 故障后CH7可能保留旧值；接入辅助闭环前需增加停机保护。
         */
        adc4_error_count++;
        return;
    }
    if ((hadc->Instance == ADC1) || (hadc->Instance == ADC2))
    {
        /* 采样/DMA 已报告错误时不能让功率级保持最后一次 PWM。 */
        Error_Handler();
    }
}
/* USER CODE END 4 */

void Error_Handler(void)
{
  /* USER CODE BEGIN Error_Handler_Debug */
  /* 直接写输出禁用寄存器，避免 ISR 中等待 HAL 锁；初始化早期也可调用。 */
  if (hhrtim1.Instance != NULL)
  {
      hhrtim1.Instance->sCommonRegs.ODISR = HRTIM_OUTPUT_TA1 | HRTIM_OUTPUT_TA2 |
                                          HRTIM_OUTPUT_TB1 | HRTIM_OUTPUT_TB2;
  }
  /* User can add his own implementation to report the HAL error return state */
  __disable_irq();
  while (1)
  {
  }
  /* USER CODE END Error_Handler_Debug */
}
